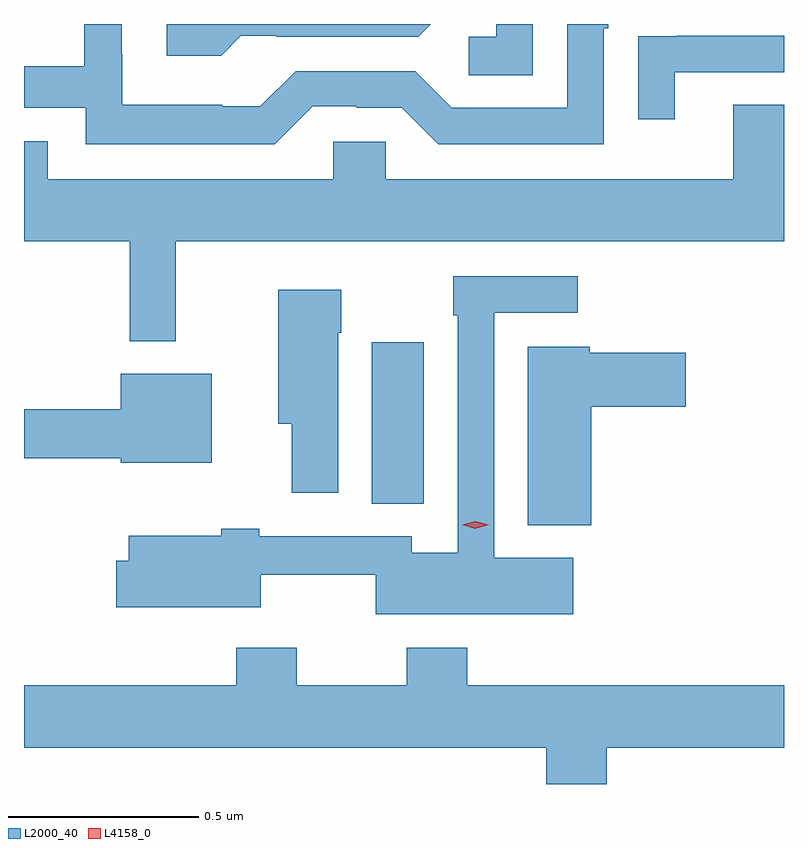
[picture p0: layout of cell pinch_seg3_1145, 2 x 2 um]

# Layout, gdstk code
import gdstk
lib = gdstk.Library(unit=1e-6, precision=1e-09)
def R(c, l, rs):  # rectangles x0, y0, x1, y1
    for r in rs: c.add(gdstk.rectangle(r[:2], r[2:], *l))
def P(c, l, *ps):  # polygons
    for p in ps: c.add(gdstk.Polygon(p, *l))
L2000_40 = (2000, 40)
L4158_0 = (4158, 0)

pinch_seg3_1145 = lib.new_cell('pinch_seg3_1145')
R(pinch_seg3_1145, L2000_40, [(229.952,745.513,230.089,745.939)])
P(pinch_seg3_1145, L2000_40, [(229.797,746.559),(229.913,746.559),(229.913,746.556),(230.031,746.556),(230.127,746.46),(230.562,746.46),(230.562,746.765),(230.575,746.765),(230.575,746.776),(230.466,746.776),(230.466,746.556),(230.163,746.556),(230.067,746.652),(229.752,746.652),(229.659,746.559),(229.559,746.559),(229.559,746.563),(229.296,746.563),(229.296,746.697),(229.294,746.697),(229.294,746.776),(229.195,746.776),(229.195,746.665),(229.037,746.665),(229.037,746.556),(229.2,746.556),(229.2,746.459),(229.697,746.459)],
  [(229.608,746.745),(229.702,746.745),(229.702,746.742),(230.074,746.742),(230.108,746.776),(229.413,746.776),(229.413,746.693),(229.556,746.693)],
  [(230.376,746.776),(230.28,746.776),(230.28,746.742),(230.208,746.742),(230.208,746.641),(230.376,746.641)],
  [(230.749,746.649),(231.037,746.649),(231.037,746.745),(230.755,746.745),(230.755,746.744),(230.653,746.744),(230.653,746.526),(230.749,746.526)],
  [(229.436,746.204),(231.037,746.204),(231.037,746.563),(230.903,746.563),(230.903,746.368),(229.989,746.368),(229.989,746.466),(229.851,746.466),(229.851,746.368),(229.099,746.368),(229.099,746.467),(229.037,746.467),(229.037,746.204),(229.315,746.204),(229.315,745.941),(229.436,745.941)],
  [(230.482,745.372),(230.274,745.372),(230.274,746.016),(230.494,746.016),(230.494,746.112),(230.166,746.112),(230.166,746.009),(230.178,746.009),(230.178,745.384),(230.058,745.384),(230.058,745.428),(229.656,745.428),(229.656,745.448),(229.556,745.448),(229.556,745.429),(229.313,745.429),(229.313,745.363),(229.28,745.363),(229.28,745.241),(229.66,745.241),(229.66,745.327),(229.962,745.327),(229.962,745.223),(230.482,745.223)],
  [(229.864,745.964),(229.872,745.964),(229.872,746.077),(229.706,746.077),(229.706,745.724),(229.742,745.724),(229.742,745.542),(229.864,745.542)],
  [(230.53,745.769),(230.779,745.769),(230.779,745.911),(230.526,745.911),(230.526,745.927),(230.363,745.927),(230.363,745.457),(230.53,745.457)],
  [(229.531,745.855),(229.292,745.855),(229.292,745.762),(229.037,745.762),(229.037,745.633),(229.292,745.633),(229.292,745.622),(229.531,745.622)],
  [(230.571,744.872),(231.037,744.872),(231.037,745.036),(230.204,745.036),(230.204,745.135),(230.044,745.135),(230.044,745.036),(229.755,745.036),(229.755,745.135),(229.595,745.135),(229.595,745.036),(229.037,745.036),(229.037,744.872),(230.411,744.872),(230.411,744.776),(230.571,744.776)])
P(pinch_seg3_1145, L4158_0, [(230.225,745.448),(230.19,745.458),(230.19,745.458),(230.19,745.458),(230.225,745.468),(230.26,745.458),(230.26,745.458),(230.26,745.458)])

lib.write_gds('pinch_seg3_1145.gds')
